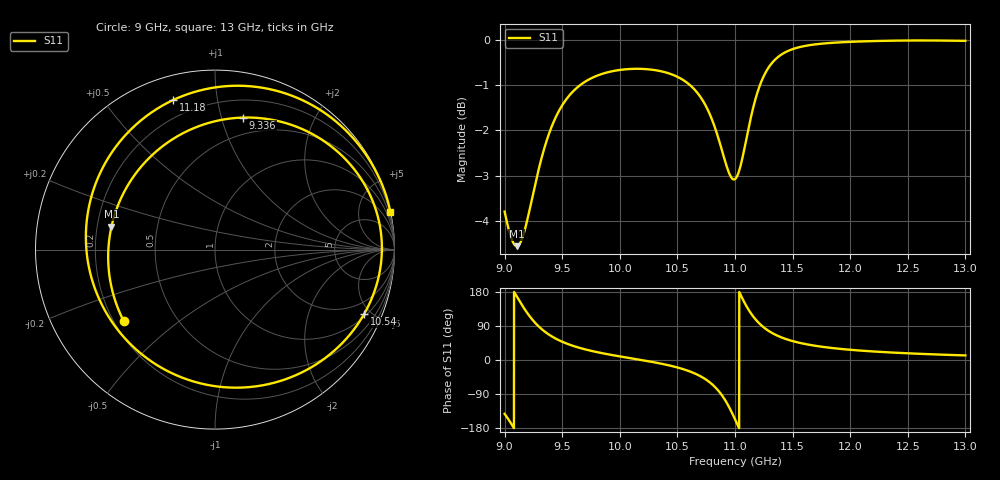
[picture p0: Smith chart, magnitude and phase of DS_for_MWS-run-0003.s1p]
! TOUCHSTONE file generated by CST DESIGN STUDIO
! Date and time: Tue Feb  4 18:41:36 2025
! Project name: C:\Work\MatlabApps\UnitCellOptimizationMatlab\CST\unitcell.cst
! Tree item: Tasks\Sweep1\SPara1\S-Parameters
! Header version: 2024
! Port assignment regex: !\s*Touchstone port\s*([0-9]+)\s*=\s*(CST MWS port|CST DES external port|CST DES block port)\s*(.+)\s* \(\"(.*)\"\)(\s*mode\s*([0-9]+))?.*
! Touchstone port assignment:
! Touchstone port 1 = CST DES external port 1 ("")
# GHz S MA R 50
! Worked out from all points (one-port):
!   4001 points, 9 GHz to 13 GHz, reference 50 ohm
!   lowest |S11| = -4.6 dB at 9.106 GHz (marker M1), VSWR 3.89, Z = 13 + j5.14 ohm
!   |S11| at or under -10 dB: nowhere
!   S11 on the Smith chart (normalised r, x): 9 GHz: 0.24, -0.33; 9.336 GHz: 0.35, +1.18; 10.54 GHz: 1.15, -4.56; 11.18 GHz: 0.11, +0.75; 13 GHz: 0.05, +9.44
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9  0.6455 -142.1
9.058  0.6034 -168.4
9.106  0.5909 167.4
9.157  0.6051 142.0
9.22  0.6512 114.4
9.336  0.7524 77.9
9.5  0.8471 48.2
9.706  0.9011 27.5
10  0.9273 9.5
10.28  0.9279 -5.0
10.5  0.9112 -19.7
10.542  0.9051 -23.4
10.725  0.8556 -47.1
10.796  0.8194 -62.7
10.861  0.7748 -83.0
10.933  0.7214 -115.5
11  0.7015 -156.2
11.038  0.7179 178.8
11.076  0.7522 155.2
11.129  0.8116 127.3
11.183  0.8655 105.5
11.244  0.9096 87.4
11.326  0.9456 70.6
11.5  0.978 49.9
11.703  0.9902 37.2
12  0.9964 26.9
12.5  0.9998 17.6
13  0.9989 12.1
